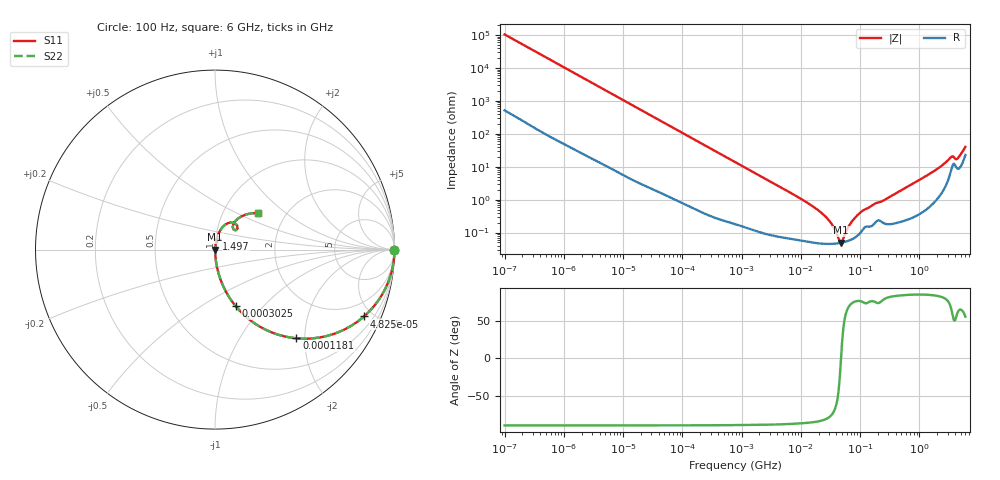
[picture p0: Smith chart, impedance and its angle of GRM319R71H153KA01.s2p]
!Murata Part Number: GRM319R71H153KA01
!These Parameters are Measured in Series Mode Connection
!Data Generated on Mar 30, 2021
!  o--ll--o
!Port1  Port2
!  o------o
!Operation Temp=25[degC], DC Bias Voltage=0[V]
!Freq. Start=100[Hz] Stop=6[GHz] 401[Steps]
# Hz S RI R 50
!Freq.(Hz) S11(Real) S11(Imag) S21(Real) S21(Imag) S12(Real) S12(Imag) S22(Real) S22(Imag)
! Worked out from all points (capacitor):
!   401 points, 100 Hz to 6 GHz, reference 50 ohm
!   read as one part in series: C = 15.1 nF near 109 Hz
!   lowest |Z| = 48.7 mohm at 47.65 MHz (marker M1)
!   series resonance near 47.76 MHz, so ESL is about 730 pH
!   S11 on the Smith chart (normalised r, x): 100 Hz: open; 48.25 kHz: 1.03, -4.44; 118.1 kHz: 1.01, -1.82; 302.5 kHz: 1.01, -0.71; 1.497 GHz: 1.01, +0.12; 6 GHz: 1.46, +0.66
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100  1 -0.000952  5.6e-06 0.000952  5.6e-06 0.000952  1 -0.000952
2008  0.9995 -0.0189  0.00045 0.0189  0.00045 0.0189  0.9995 -0.0189
11514  0.9879 -0.1067  0.0121 0.1067  0.0121 0.1067  0.9879 -0.1067
40335  0.874 -0.3287  0.126 0.3287  0.126 0.3287  0.874 -0.3287
48246  0.8296 -0.3727  0.1704 0.3727  0.1704 0.3727  0.8296 -0.3727
118133  0.4533 -0.4941  0.5467 0.4941  0.5467 0.4941  0.4533 -0.4941
302498  0.1151 -0.3147  0.8849 0.3147  0.8849 0.3147  0.1151 -0.3147
774597  0.0209 -0.1368  0.9791 0.1368  0.9791 0.1368  0.0209 -0.1368
2481164  0.00284 -0.0438  0.9972 0.0438  0.9972 0.0438  0.00284 -0.0438
1.555665e7  0.000537 -0.00641  0.9995 0.00641  0.9995 0.00641  0.000537 -0.00641
2.911731e7  0.000456 -0.00242  0.9995 0.00242  0.9995 0.00242  0.000456 -0.00242
3.64232e7  0.000458 -0.00129  0.9995 0.00129  0.9995 0.00129  0.000458 -0.00129
4.35672e7  0.000473 -0.000434  0.9995 0.000434  0.9995 0.000434  0.000473 -0.000434
4.764863e7  0.000486 -1.08e-05  0.9995 1.08e-05  0.9995 1.08e-05  0.000486 -1.08e-05
5.211241e7  0.000504 0.000413  0.9995 -0.000413  0.9995 -0.000413  0.000504 0.000413
6.817316e7  0.000592 0.00172  0.9994 -0.00172  0.9994 -0.00172  0.000592 0.00172
9.753859e7  0.000921 0.0037  0.9991 -0.0037  0.9991 -0.0037  0.000921 0.0037
3.124326e8  0.00192 0.0119  0.9981 -0.0119  0.9981 -0.0119  0.00192 0.0119
1.497423e9  0.00962 0.0598  0.9904 -0.0598  0.9904 -0.0598  0.00962 0.0598
3.352442e9  0.0868 0.1511  0.9132 -0.1511  0.9132 -0.1511  0.0868 0.1511
4.385646e9  0.0986 0.1261  0.9014 -0.1261  0.9014 -0.1261  0.0986 0.1261
6e9  0.24 0.2035  0.76 -0.2035  0.76 -0.2035  0.24 0.2035
